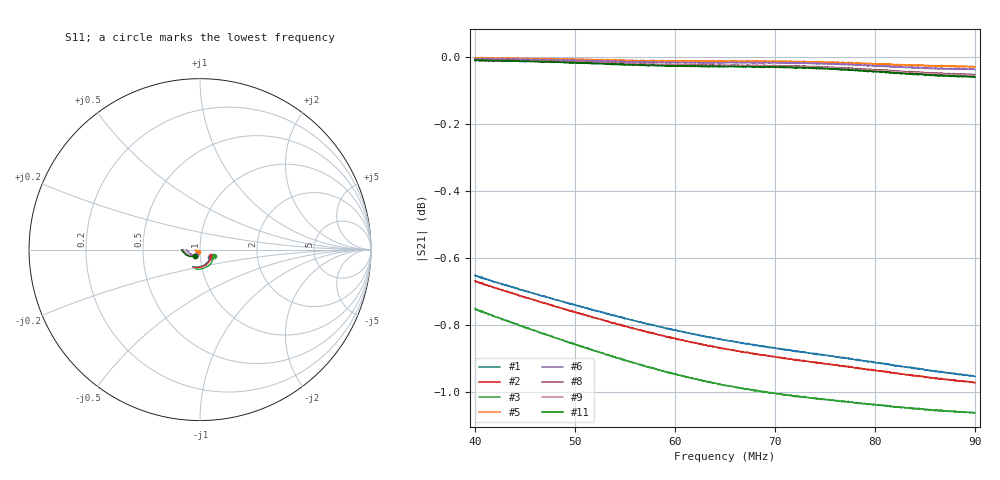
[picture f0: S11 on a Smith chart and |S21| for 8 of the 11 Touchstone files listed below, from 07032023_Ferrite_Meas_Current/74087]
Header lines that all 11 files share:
!Agilent Technologies,E5061B,MY49102235,A.02.00
!Data & Calibration Information:
!Freq	S11:SOLT2(ON)	S21:SOLT2(ON)	S12:SOLT2(ON)	S22:SOLT2(ON)
# Hz S RI R 50
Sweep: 40 MHz to 90 MHz
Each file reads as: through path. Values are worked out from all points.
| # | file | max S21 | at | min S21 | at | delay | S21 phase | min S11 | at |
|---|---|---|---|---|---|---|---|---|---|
| 1 | 74087_#3_0A_AVG.S2P | -0.65 dB | 40 MHz | -1.0 dB | 90 MHz | 2.86 ns | -70 deg at 65.02 MHz | -22.7 dB | 40 MHz |
| 2 | 74087_#3_2,5A_AVG.S2P | -0.67 dB | 40.03 MHz | -1.0 dB | 89.94 MHz | 2.86 ns | -70 deg at 65.02 MHz | -22.4 dB | 40 MHz |
| 3 | 74087_#3_5A_AVG.S2P | -0.75 dB | 40 MHz | -1.1 dB | 90 MHz | 2.87 ns | -71 deg at 65.02 MHz | -21.1 dB | 40 MHz |
| 4 | 74087_#3_7,5A_AVG.S2P | -0.62 dB | 40.03 MHz | -1.1 dB | 90 MHz | 2.93 ns | -74 deg at 65.02 MHz | -21.0 dB | 40 MHz |
| 5 | 74087_#3_10A_AVG.S2P | 0.00 dB | 40.69 MHz | 0.0 dB | 89.5 MHz | 2.98 ns | -70 deg at 65.02 MHz | -36.7 dB | 40 MHz |
| 6 | 74087_#3_12,5A_AVG.S2P | 0.00 dB | 40.69 MHz | 0.0 dB | 89.5 MHz | 2.88 ns | -67 deg at 65.02 MHz | -28.5 dB | 40 MHz |
| 7 | 74087_#3_15A_AVG.S2P | -0.01 dB | 40.69 MHz | 0.0 dB | 89.78 MHz | 2.85 ns | -67 deg at 65.02 MHz | -27.1 dB | 40 MHz |
| 8 | 74087_#3_17,5A_AVG.S2P | -0.01 dB | 40.69 MHz | -0.1 dB | 89.78 MHz | 2.84 ns | -67 deg at 65.02 MHz | -26.6 dB | 40 MHz |
| 9 | 74087_#3_20A_AVG.S2P | -0.01 dB | 40.69 MHz | -0.1 dB | 89.78 MHz | 2.83 ns | -66 deg at 65.02 MHz | -26.3 dB | 40 MHz |
| 10 | 74087_#3_22,5A_AVG.S2P | -0.01 dB | 40.69 MHz | -0.1 dB | 89.78 MHz | 2.83 ns | -66 deg at 65.02 MHz | -26.1 dB | 40 MHz |
| 11 | 74087_#3_25A_AVG.S2P | -0.01 dB | 40.69 MHz | -0.1 dB | 89.78 MHz | 2.83 ns | -66 deg at 65.02 MHz | -26.0 dB | 40 MHz |
